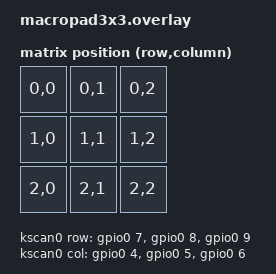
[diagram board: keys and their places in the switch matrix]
/ {
    chosen {
        zmk,kscan = &kscan0;
        zmk,matrix-transform = &default_transform;
        zmk,physical-layout = &physical_layout;
    };

    default_transform: keymap_transform_0 {
        compatible = "zmk,matrix-transform";
        columns = <3>;
        rows = <3>;
        map = 
            RC(0,0) RC(0,1) RC(0,2)
            RC(1,0) RC(1,1) RC(1,2)
            RC(2,0) RC(2,1) RC(2,2)
        >;
    };

    kscan0: kscan {
        compatible = "zmk,kscan-gpio-matrix";
        diode-direction = "col2row";
        wakeup-source;

        col-gpios
            = <&gpio0 4 GPIO_ACTIVE_HIGH>
            , <&gpio0 5 GPIO_ACTIVE_HIGH>
            , <&gpio0 6 GPIO_ACTIVE_HIGH>
            ;

        row-gpios
            = <&gpio0 7 (GPIO_ACTIVE_HIGH | GPIO_PULL_DOWN)>
            , <&gpio0 8 (GPIO_ACTIVE_HIGH | GPIO_PULL_DOWN)>
            , <&gpio0 9 (GPIO_ACTIVE_HIGH | GPIO_PULL_DOWN)>
            ;
    };

    physical_layout: physical_layout {
        compatible = "zmk,physical-layout";
        display-name = "Default Layout";

        transform = <&default_transform>;

        kscan = <&kscan0>;

        keys
            = <&key_physical_attrs 100 100    0   0 0 0 0>
            , <&key_physical_attrs 100 100  100   0 0 0 0>
            , <&key_physical_attrs 100 100  200   0 0 0 0>
            , <&key_physical_attrs 100 100    0 100 0 0 0>
            , <&key_physical_attrs 100 100  100 100 0 0 0>
            , <&key_physical_attrs 100 100  200 100 0 0 0>
            , <&key_physical_attrs 100 100    0 200 0 0 0>
            , <&key_physical_attrs 100 100  100 200 0 0 0>
            , <&key_physical_attrs 100 100  200 200 0 0 0>
            ;
    };
};
